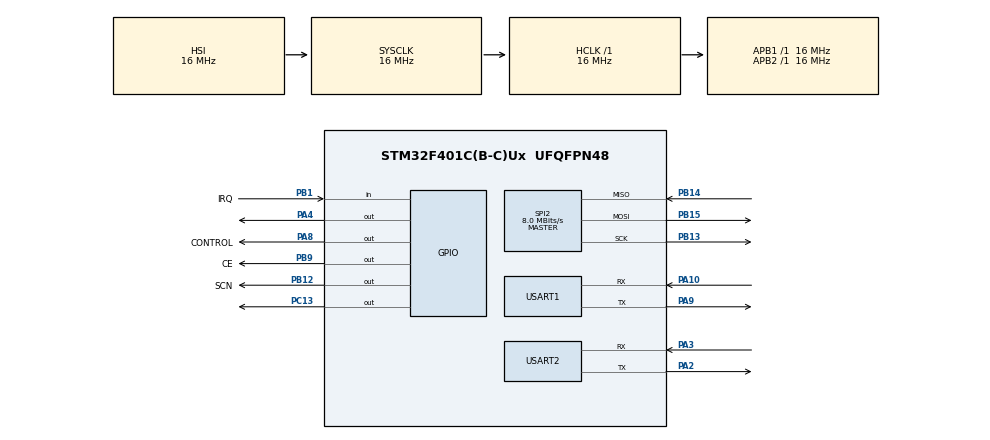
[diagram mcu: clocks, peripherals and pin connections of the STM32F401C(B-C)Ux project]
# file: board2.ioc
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Mcu.Family=STM32F4
Mcu.Name=STM32F401C(B-C)Ux
Mcu.Package=UFQFPN48
NVIC.PriorityGroup=NVIC_PRIORITYGROUP_4
PA10.Mode=Asynchronous
PA10.Signal=USART1_RX
PA13.Mode=Serial_Wire
PA13.Signal=SYS_JTMS-SWDIO
PA14.Mode=Serial_Wire
PA14.Signal=SYS_JTCK-SWCLK
PA2.Mode=Asynchronous
PA2.Signal=USART2_TX
PA3.Mode=Asynchronous
PA3.Signal=USART2_RX
PA4.Signal=GPIO_Output
PA8.GPIO_Label=CONTROL
PA8.Signal=GPIO_Output
PA9.Mode=Asynchronous
PA9.Signal=USART1_TX
PB1.GPIO_Label=IRQ
PB1.Signal=GPIO_Input
PB12.GPIO_Label=SCN
PB12.Signal=GPIO_Output
PB13.Mode=Full_Duplex_Master
PB13.Signal=SPI2_SCK
PB14.Mode=Full_Duplex_Master
PB14.Signal=SPI2_MISO
PB15.Mode=Full_Duplex_Master
PB15.Signal=SPI2_MOSI
PB9.GPIO_Label=CE
PB9.Signal=GPIO_Output
PC13-ANTI_TAMP.Signal=GPIO_Output
ProjectManager.HeapSize=0x200
ProjectManager.StackSize=0x400
ProjectManager.TargetToolchain=STM32CubeIDE
RCC.AHBFreq_Value=16000000
RCC.APB1Freq_Value=16000000
RCC.APB2Freq_Value=16000000
RCC.CortexFreq_Value=16000000
RCC.HSE_VALUE=25000000
RCC.HSI_VALUE=16000000
RCC.LSE_VALUE=32768
RCC.SYSCLKFreq_VALUE=16000000
RCC.VCOOutputFreq_Value=192000000
SPI2.CalculateBaudRate=8.0 MBits/s
SPI2.Direction=SPI_DIRECTION_2LINES
SPI2.Mode=SPI_MODE_MASTER
SPI2.VirtualType=VM_MASTER
USART1.VirtualMode=VM_ASYNC
USART2.VirtualMode=VM_ASYNC
board=custom

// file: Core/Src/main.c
/* USER CODE BEGIN Header */
/**
  ******************************************************************************
  * @file           : main.c
  * @brief          : Main program body
  ******************************************************************************
  * @attention
  *
  * Copyright (c) 2025 STMicroelectronics.
  * All rights reserved.
  *
  * This software is licensed under terms that can be found in the LICENSE file
  * in the root directory of this software component.
  * If no LICENSE file comes with this software, it is provided AS-IS.
  *
  ******************************************************************************
  */
/* USER CODE END Header */
#include "main.h"

/* USER CODE BEGIN Includes */
#include "NRF24L01.h"
#include "string.h"

/* USER CODE END Includes */

SPI_HandleTypeDef hspi2;

UART_HandleTypeDef huart1;
UART_HandleTypeDef huart2;

void SystemClock_Config(void);
static void MX_GPIO_Init(void);
static void MX_SPI2_Init(void);
static void MX_USART1_UART_Init(void);
static void MX_USART2_UART_Init(void);

/* USER CODE BEGIN 0 */

uint8_t TxAddress[] = {0xEE,0xDD,0xCC,0xBB,0xAA};
uint8_t TxData[] = "hellos";

//uint8_t data[50];
/* USER CODE END 0 */

int main(void)
{

  /* USER CODE BEGIN 1 */

//	 NRF24_ReadAll(data);

  /* USER CODE END 1 */

  /* MCU Configuration--------------------------------------------------------*/

  /* Reset of all peripherals, Initializes the Flash interface and the Systick. */
  HAL_Init();

  /* Configure the system clock */
  SystemClock_Config();

  /* USER CODE BEGIN SysInit */
  HAL_Delay(100);

  /* USER CODE END SysInit */

  /* Initialize all configured peripherals */
  MX_GPIO_Init();
  MX_SPI2_Init();
  MX_USART1_UART_Init();
  MX_USART2_UART_Init();
  /* USER CODE BEGIN 2 */
  	  HAL_Delay(10);
  	  NRF24_Init();

  	  NRF24_TxMode(TxAddress, 10);
  	 HAL_Delay(5);
     HAL_GPIO_WritePin(CE_GPIO_Port, CE_Pin, GPIO_PIN_SET);

	 char TxBuf[16];
	 uint8_t status;
	 HAL_Delay(1000);
  /* USER CODE END 2 */

  /* Infinite loop */
  /* USER CODE BEGIN WHILE */
  while (1)
    {

	  int txLen = snprintf(TxBuf, sizeof(TxBuf), "=REQ:%d\n", 2);
	  HAL_GPIO_WritePin(GPIOA, GPIO_PIN_4, GPIO_PIN_SET);
	  HAL_UART_Transmit(&huart2, (uint8_t*)TxBuf, txLen, 1000);
//	  while (__HAL_UART_GET_FLAG(&huart2, UART_FLAG_TC) == RESET);
	  HAL_GPIO_WritePin(GPIOA, GPIO_PIN_4, GPIO_PIN_RESET);

	  char RxBuf[16];
	  uint8_t c;
	  int idx = 0;
	  int pdx=0;
	  int flg=0;
	  while (HAL_UART_Receive(&huart2, &c, 1, 1000) == HAL_OK) {

	      RxBuf[idx++] = c;
	      if(c=='+' || flg==1){
	    	  TxData[pdx++]=c;
	    	  flg=1;
	      }
	      if (c == '\n') break;
	  }
	  RxBuf[idx] = '\0';
	  if(flg){
		  status = NRF24_Transmit(TxData);
	  }
	  char bufs[25];
	  sprintf(bufs,"%d",status);
	  if(status){
		  HAL_GPIO_TogglePin(GPIOC, GPIO_PIN_13);
	  }
	  HAL_Delay(100);

    /* USER CODE END WHILE */

    }
}

void SystemClock_Config(void)
{
  RCC_OscInitTypeDef RCC_OscInitStruct = {0};
  RCC_ClkInitTypeDef RCC_ClkInitStruct = {0};

  /** Configure the main internal regulator output voltage
  */
  __HAL_RCC_PWR_CLK_ENABLE();
  __HAL_PWR_VOLTAGESCALING_CONFIG(PWR_REGULATOR_VOLTAGE_SCALE2);

  /** Initializes the RCC Oscillators according to the specified parameters
  * in the RCC_OscInitTypeDef structure.
  */
  RCC_OscInitStruct.OscillatorType = RCC_OSCILLATORTYPE_HSI;
  RCC_OscInitStruct.HSIState = RCC_HSI_ON;
  RCC_OscInitStruct.HSICalibrationValue = RCC_HSICALIBRATION_DEFAULT;
  RCC_OscInitStruct.PLL.PLLState = RCC_PLL_NONE;
  if (HAL_RCC_OscConfig(&RCC_OscInitStruct) != HAL_OK)
  {
    Error_Handler();
  }

  /** Initializes the CPU, AHB and APB buses clocks
  */
  RCC_ClkInitStruct.ClockType = RCC_CLOCKTYPE_HCLK|RCC_CLOCKTYPE_SYSCLK
                              |RCC_CLOCKTYPE_PCLK1|RCC_CLOCKTYPE_PCLK2;
  RCC_ClkInitStruct.SYSCLKSource = RCC_SYSCLKSOURCE_HSI;
  RCC_ClkInitStruct.AHBCLKDivider = RCC_SYSCLK_DIV1;
  RCC_ClkInitStruct.APB1CLKDivider = RCC_HCLK_DIV1;
  RCC_ClkInitStruct.APB2CLKDivider = RCC_HCLK_DIV1;

  if (HAL_RCC_ClockConfig(&RCC_ClkInitStruct, FLASH_LATENCY_0) != HAL_OK)
  {
    Error_Handler();
  }
}

static void MX_SPI2_Init(void)
{

  /* SPI2 parameter configuration*/
  hspi2.Instance = SPI2;
  hspi2.Init.Mode = SPI_MODE_MASTER;
  hspi2.Init.Direction = SPI_DIRECTION_2LINES;
  hspi2.Init.DataSize = SPI_DATASIZE_8BIT;
  hspi2.Init.CLKPolarity = SPI_POLARITY_LOW;
  hspi2.Init.CLKPhase = SPI_PHASE_1EDGE;
  hspi2.Init.NSS = SPI_NSS_SOFT;
  hspi2.Init.BaudRatePrescaler = SPI_BAUDRATEPRESCALER_2;
  hspi2.Init.FirstBit = SPI_FIRSTBIT_MSB;
  hspi2.Init.TIMode = SPI_TIMODE_DISABLE;
  hspi2.Init.CRCCalculation = SPI_CRCCALCULATION_DISABLE;
  hspi2.Init.CRCPolynomial = 10;
  if (HAL_SPI_Init(&hspi2) != HAL_OK)
  {
    Error_Handler();
  }

}

static void MX_USART1_UART_Init(void)
{

  huart1.Instance = USART1;
  huart1.Init.BaudRate = 115200;
  huart1.Init.WordLength = UART_WORDLENGTH_8B;
  huart1.Init.StopBits = UART_STOPBITS_1;
  huart1.Init.Parity = UART_PARITY_NONE;
  huart1.Init.Mode = UART_MODE_TX_RX;
  huart1.Init.HwFlowCtl = UART_HWCONTROL_NONE;
  huart1.Init.OverSampling = UART_OVERSAMPLING_16;
  if (HAL_UART_Init(&huart1) != HAL_OK)
  {
    Error_Handler();
  }

}

static void MX_USART2_UART_Init(void)
{

  huart2.Instance = USART2;
  huart2.Init.BaudRate = 9600;
  huart2.Init.WordLength = UART_WORDLENGTH_8B;
  huart2.Init.StopBits = UART_STOPBITS_1;
  huart2.Init.Parity = UART_PARITY_NONE;
  huart2.Init.Mode = UART_MODE_TX_RX;
  huart2.Init.HwFlowCtl = UART_HWCONTROL_NONE;
  huart2.Init.OverSampling = UART_OVERSAMPLING_16;
  if (HAL_UART_Init(&huart2) != HAL_OK)
  {
    Error_Handler();
  }

}

static void MX_GPIO_Init(void)
{
  GPIO_InitTypeDef GPIO_InitStruct = {0};

  /* GPIO Ports Clock Enable */
  __HAL_RCC_GPIOC_CLK_ENABLE();
  __HAL_RCC_GPIOA_CLK_ENABLE();
  __HAL_RCC_GPIOB_CLK_ENABLE();

  /*Configure GPIO pin Output Level */
  HAL_GPIO_WritePin(GPIOC, GPIO_PIN_13, GPIO_PIN_RESET);

  /*Configure GPIO pin Output Level */
  HAL_GPIO_WritePin(GPIOA, GPIO_PIN_4|CONTROL_Pin, GPIO_PIN_RESET);

  /*Configure GPIO pin Output Level */
  HAL_GPIO_WritePin(GPIOB, SCN_Pin|CE_Pin, GPIO_PIN_RESET);

  /*Configure GPIO pin : PC13 */
  GPIO_InitStruct.Pin = GPIO_PIN_13;
  GPIO_InitStruct.Mode = GPIO_MODE_OUTPUT_PP;
  GPIO_InitStruct.Pull = GPIO_NOPULL;
  GPIO_InitStruct.Speed = GPIO_SPEED_FREQ_LOW;
  HAL_GPIO_Init(GPIOC, &GPIO_InitStruct);

  /*Configure GPIO pins : PA4 CONTROL_Pin */
  GPIO_InitStruct.Pin = GPIO_PIN_4|CONTROL_Pin;
  GPIO_InitStruct.Mode = GPIO_MODE_OUTPUT_PP;
  GPIO_InitStruct.Pull = GPIO_NOPULL;
  GPIO_InitStruct.Speed = GPIO_SPEED_FREQ_LOW;
  HAL_GPIO_Init(GPIOA, &GPIO_InitStruct);

  /*Configure GPIO pins : SCN_Pin CE_Pin */
  GPIO_InitStruct.Pin = SCN_Pin|CE_Pin;
  GPIO_InitStruct.Mode = GPIO_MODE_OUTPUT_PP;
  GPIO_InitStruct.Pull = GPIO_NOPULL;
  GPIO_InitStruct.Speed = GPIO_SPEED_FREQ_LOW;
  HAL_GPIO_Init(GPIOB, &GPIO_InitStruct);

  /* USER CODE BEGIN MX_GPIO_Init_2 */
  HAL_GPIO_WritePin(GPIOC, GPIO_PIN_13, GPIO_PIN_RESET);

/*Configure GPIO pin : PC13 */
  GPIO_InitStruct.Pin   = GPIO_PIN_13;
  GPIO_InitStruct.Mode  = GPIO_MODE_OUTPUT_PP;
  GPIO_InitStruct.Pull  = GPIO_NOPULL;
  GPIO_InitStruct.Speed = GPIO_SPEED_FREQ_LOW;
  HAL_GPIO_Init(GPIOC, &GPIO_InitStruct);
  /* USER CODE END MX_GPIO_Init_2 */
}

void Error_Handler(void)
{
  __disable_irq();
  while (1)
  {
  }
}
